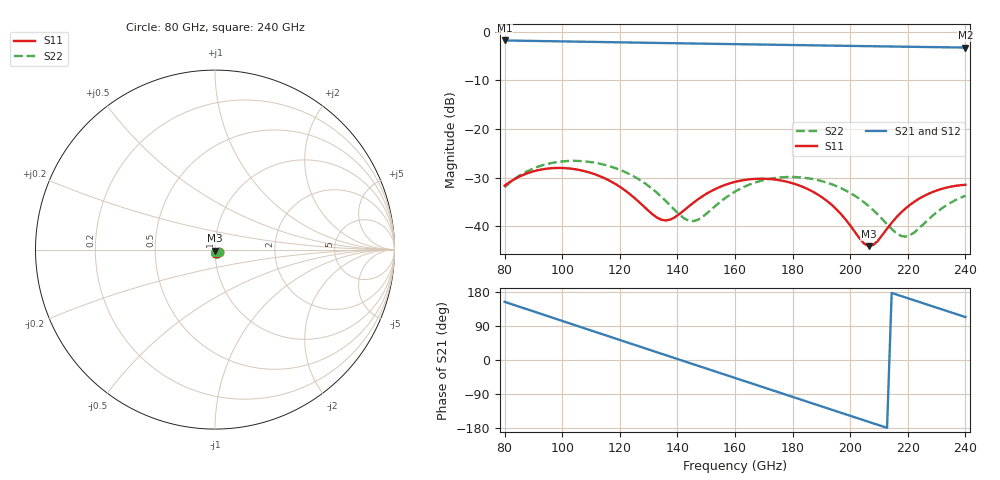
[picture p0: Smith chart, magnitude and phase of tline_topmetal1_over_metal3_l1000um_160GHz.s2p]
#  GHZ S DB R 50
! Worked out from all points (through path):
!   101 points, 80 GHz to 240 GHz, reference 50 ohm
!   highest |S21| = -1.80 dB at 80 GHz (marker M1); lowest = -3.3 dB at 240 GHz (marker M2)
!   group delay of S21, straight-line fit = 6.95 ps
!   lowest |S11| = -44.1 dB at 206.4 GHz (marker M3), VSWR 1.01, Z = 50.1 - j0.617 ohm
!   |S11| at or under -10 dB: start of sweep to end of sweep
!   |S22| runs from -42.1 to -26.5 dB; largest |S21 - S12| = 9.3e-14
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80  -31.62 -31.1  -1.80 153.6  -1.80 153.6  -31.97 -35.8
86.4  -29.43 -37.6  -1.87 137.4  -1.87 137.4  -29.13 -41.2
94.4  -28.16 -50.9  -1.94 117.3  -1.94 117.3  -27.23 -54.9
107.2  -28.57 -74.8  -2.06 85.0  -2.06 85.0  -26.61 -81.0
120  -31.85 -94.1  -2.19 52.8  -2.19 52.8  -28.37 -106.4
128  -35.71 -94.4  -2.27 32.8  -2.27 32.8  -30.86 -119.0
134.4  -38.62 -74.3  -2.33 16.7  -2.33 16.7  -33.88 -123.2
139.2  -38.09 -52.1  -2.37 4.7  -2.37 4.7  -36.72 -117.7
145.6  -35.11 -40.1  -2.43 -11.3  -2.43 -11.3  -38.91 -89.6
152  -32.65 -43.0  -2.49 -27.3  -2.49 -27.3  -36.40 -66.7
160  -30.85 -54.5  -2.56 -47.4  -2.56 -47.4  -32.85 -66.5
168  -30.20 -69.1  -2.63 -67.4  -2.63 -67.4  -30.79 -77.6
174.4  -30.41 -81.6  -2.69 -83.3  -2.69 -83.3  -30.01 -89.2
187.2  -32.92 -105.2  -2.81 -115.3  -2.81 -115.3  -30.29 -114.1
195.2  -36.47 -114.8  -2.88 -135.2  -2.88 -135.2  -31.72 -128.9
206.4  -44.05 -78.9  -2.98 -163.1  -2.98 -163.1  -35.81 -142.8
209.6  -42.93 -54.0  -3.01 -171.1  -3.01 -171.1  -37.57 -142.7
214.4  -39.25 -38.9  -3.05 177.0  -3.05 177.0  -40.53 -133.6
217.6  -37.18 -38.2  -3.08 169.0  -3.08 169.0  -41.94 -118.5
220.8  -35.55 -40.8  -3.10 161.1  -3.10 161.1  -41.80 -100.0
230.4  -32.55 -56.2  -3.18 137.2  -3.18 137.2  -36.92 -80.4
240  -31.45 -76.0  -3.26 113.3  -3.26 113.3  -33.70 -90.9
